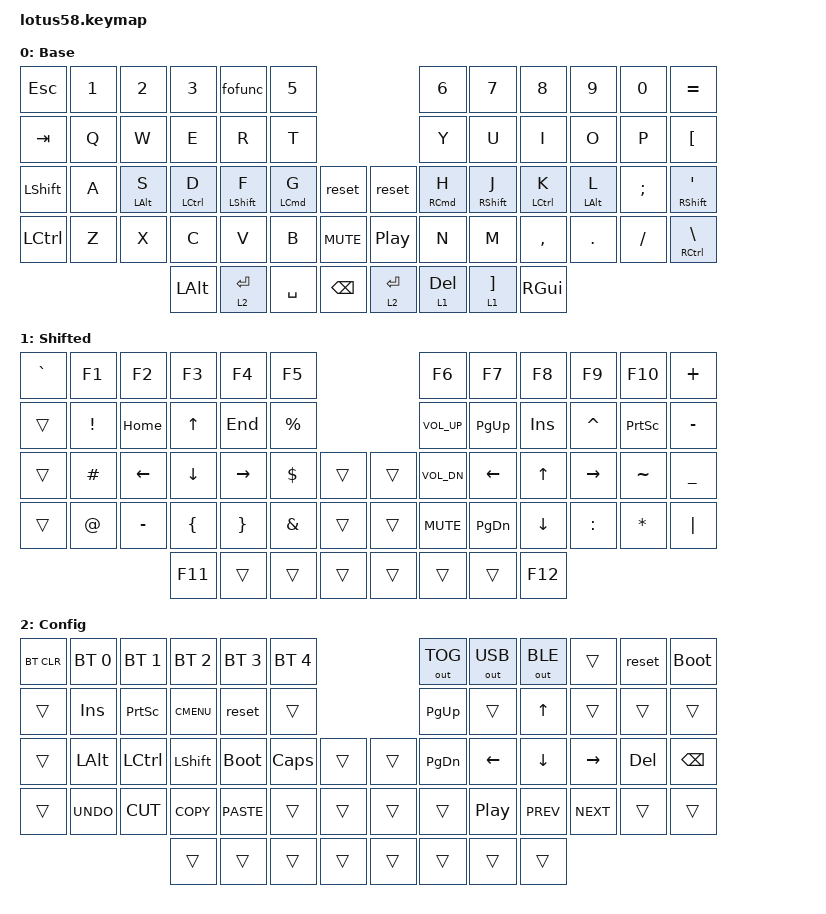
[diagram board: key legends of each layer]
#include <behaviors.dtsi>
#include <dt-bindings/zmk/keys.h>
#include <dt-bindings/zmk/bt.h>

/ {

    keymap {
        compatible = "zmk,keymap";

        default_layer {
            display-name = "Base";
//   ------------------------------------------------------------------------------------------------------------
//  0|  ESC  |  1  |  2      |  3      |  4      |  5      |                     |  6      |  7      |  8      |  9      |   0   |   =   | 11
// 12|  TAB  |  Q  |  W      |  E      |  R      |  T      |                     |  Y      |  U      |  I      |  O      |   P   |   [   | 23
// 24|  SFT  |  A  |  S (alt)|  D (ctl)|  F (sft)|  G (cmd)|  RESET  |  | RESET  |  H (cmd)|  J (sft)|  K (ctl)|  L (alt)|   ;   | ' SFT | 37
// 38|  CTRL |  Z  |  X      |  C      |  V      |  B      |  MUTE   |  | PLAY   |  N      |  M      |  ,      |  .      |   /   | \ CTRL| 51
// 52                        | ALT     |  RET    | SPACE   |  BSPC   |  |ENTER RS|  DEL    |  ] LW   | RGUI    |                           59
            bindings = <
&kp ESC   &kp N1 &kp N2      &kp N3       &fofunc      &kp N5                               &kp N6      &kp N7       &kp N8       &kp N9      &kp N0   &kp EQUAL
&kp TAB   &kp Q  &kp W       &kp E        &kp R        &kp T                                &kp Y       &kp U        &kp I        &kp O       &kp P    &kp LBKT
&kp LSHFT &kp A  &mt LALT S  &mt LCTRL D  &mt LSHFT F  &mt LCMD G  &reset       &reset      &mt RCMD H  &mt RSHFT J  &mt LCTRL K  &mt LALT L  &kp SEMI &mt RSHFT SQT
&kp LCTRL &kp Z  &kp X       &kp C        &kp V        &kp B      &kp C_MUTE    &kp C_PP    &kp N       &kp M        &kp COMMA    &kp DOT     &kp FSLH &mt RCTRL BSLH
                             &kp LALT     &lt 2 RET    &kp SPACE  &kp BSPC      &lt 2 RET   &lt 1 DEL   &lt 1 RBKT   &kp RGUI
            >;
        };

        lower_layer {
            display-name = "Shifted";
// ------------------------------------------------------------------------------------------------------------
// | `     |  F1 |  F2 |  F3  |  F4  |  F5  |                   |  F6  |  F7   |  F8   |  F9  |  F10  |  F11  |
// |       |  !  | HOME|   ^  |  END |  %   |                   | VOL^ |  PGUP |  INS  |  ^   |  PSCR |   -   |
// |       |  #  |  <- |   v  | ->   |  $   |        |  |       | VOLv |    <- |   ^   |  ->  |   ~   |   _   |
// |       |  @  |  -  |  (   |  )   |  &   |        |  |       | MUTE |  PGDN |   v   |  :   |   *   |   |   |
//                     |  F11 |      |      |        |  |       |      |       |  F12  |       
            bindings = <
&kp GRAVE  &kp F1    &kp F2    &kp F3      &kp F4     &kp F5                     &kp F6        &kp F7     &kp F8    &kp F9     &kp F10   &kp PLUS
&trans     &kp EXCL  &kp HOME  &kp UP      &kp END    &kp PRCNT                  &kp C_VOL_UP  &kp PG_UP  &kp INS   &kp CARET  &kp PSCRN &kp MINUS
&trans     &kp HASH  &kp LEFT  &kp DOWN    &kp RIGHT  &kp DLLR  &trans   &trans  &kp C_VOL_DN  &kp LEFT   &kp UP    &kp RIGHT  &kp TILDE &kp UNDER
&trans     &kp AT    &kp MINUS &kp LBRC    &kp RBRC   &kp AMPS  &trans   &trans  &kp C_MUTE    &kp PG_DN  &kp DOWN  &kp COLON  &kp STAR  &kp PIPE
                               &kp F11     &trans     &trans    &trans   &trans  &trans        &trans     &kp F12
            >;
        };

        raise_layer {
            display-name = "Config";
// ------------------------------------------------------------------------------------------------------------
// |BTCLR| BT1  | BT2  |  BT3  |  BT4  |  BT5 |                |OUTTOG|OUTUSB| OUTBT |      | RESET | FLASH |
// |     | INS  | PSCR | GUI   | RESET |      |                | PGUP |      |   ^   |      |       |       |
// |     | ALT  | CTRL | SHIFT | FLASH | CAPS |      |  |      | PGDN |   <- |   v   |  ->  |  DEL  | BSPC  |
// |     | UNDO | CUT  | COPY  | PASTE |      |      |  |      |      |  |>  |  <|<| | |>|> |       |       |
//                     |       |       |      |      |  |      |      |      |       |
            bindings = <
&bt BT_CLR &bt BT_SEL 0 &bt BT_SEL 1 &bt BT_SEL 2 &bt BT_SEL 3 &bt BT_SEL 4                    &out OUT_TOG  &out OUT_USB  &out OUT_BLE  &trans     &reset  &bootloader
&trans     &kp INS      &kp PSCRN    &kp K_CMENU  &reset       &trans                          &kp PG_UP     &trans        &kp UP        &trans     &trans  &trans
&trans     &kp LALT     &kp LCTRL    &kp LSHFT    &bootloader  &kp CLCK     &trans   &trans    &kp PG_DN     &kp LEFT      &kp DOWN      &kp RIGHT  &kp DEL &kp BSPC
&trans     &kp K_UNDO   &kp K_CUT    &kp K_COPY   &kp K_PASTE  &trans       &trans   &trans    &trans        &kp C_PP      &kp C_PREV    &kp C_NEXT &trans  &trans
                                     &trans       &trans       &trans       &trans   &trans    &trans        &trans        &trans
            >;
        };
    };
};
